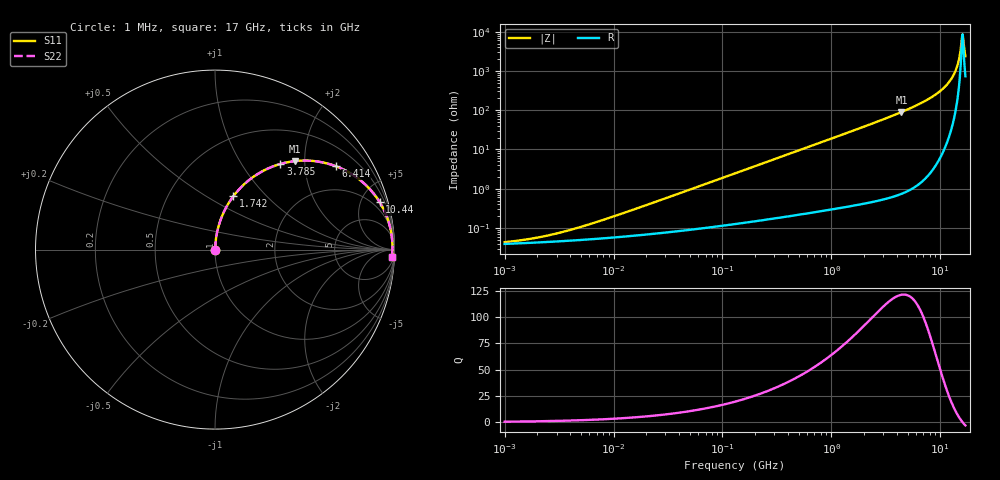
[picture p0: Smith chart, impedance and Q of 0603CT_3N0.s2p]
# MHz  S  MA  R  50
!Freq  MagS11  AngS11  MagS21  AngS21  MagS12  AngS12  MagS22  AngS22
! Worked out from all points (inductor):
!   980 points, 1 MHz to 17 GHz, reference 50 ohm
!   read as one part in series: L = 3 nH near 8.927 MHz
!   highest Q = 121 at 4.395 GHz (marker M1), where L = 3.24 nH
!   self-resonance near 15.86 GHz
!   S11 on the Smith chart (normalised r, x): 1 MHz: 1.00, +0.00; 1.742 GHz: 1.01, +0.66; 3.785 GHz: 1.01, +1.51; 6.414 GHz: 1.03, +2.88; 10.44 GHz: 1.16, +6.86; 17 GHz: 16, -45
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1  0.0004357 25.6  0.9996 -0.0  0.9996 -0.0  0.0004357 25.6
2.216715  0.0006019 43.9  0.9996 -0.0  0.9996 -0.0  0.0006019 43.9
5.113347  0.001084 62.6  0.9995 -0.1  0.9995 -0.1  0.001084 62.6
25.88745  0.004931 81.2  0.9993 -0.3  0.9993 -0.3  0.004931 81.2
131.0609  0.0247 85.7  0.9984 -1.4  0.9984 -1.4  0.0247 85.7
663.5247  0.124 81.8  0.9898 -7.1  0.9898 -7.1  0.124 81.8
1741.929  0.3143 71.0  0.9457 -18.3  0.9457 -18.3  0.3143 71.0
2443.189  0.4249 64.3  0.901 -25.1  0.901 -25.1  0.4249 64.3
3359.24  0.5501 56.1  0.8303 -33.4  0.8303 -33.4  0.5501 56.1
3785.275  0.6006 52.6  0.7945 -36.9  0.7945 -36.9  0.6006 52.6
4394.587  0.6646 47.9  0.7417 -41.6  0.7417 -41.6  0.6646 47.9
6414.02  0.818 34.6  0.5678 -54.9  0.5678 -54.9  0.818 34.6
8390.878  0.9046 24.5  0.4146 -64.8  0.4146 -64.8  0.9046 24.5
10444.26  0.9541 16.1  0.2782 -72.5  0.2782 -72.5  0.9541 16.1
12246.71  0.9768 10.1  0.1754 -77.4  0.1754 -77.4  0.9768 10.1
13663.27  0.9856 6.0  0.1041 -79.1  0.1041 -79.1  0.9856 6.0
14648.88  0.9883 3.3  0.05885 -76.8  0.05885 -76.8  0.9883 3.3
14943.32  0.9886 2.6  0.04611 -74.4  0.04611 -74.4  0.9886 2.6
15550.08  0.9888 1.1  0.02184 -58.5  0.02184 -58.5  0.9888 1.1
15862.63  0.9886 0.3  0.0128 -26.6  0.0128 -26.6  0.9886 0.3
16343.29  0.9879 -0.8  0.01823 48.1  0.01823 48.1  0.9879 -0.8
17000  0.9864 -2.3  0.0415 69.8  0.0415 69.8  0.9864 -2.3
